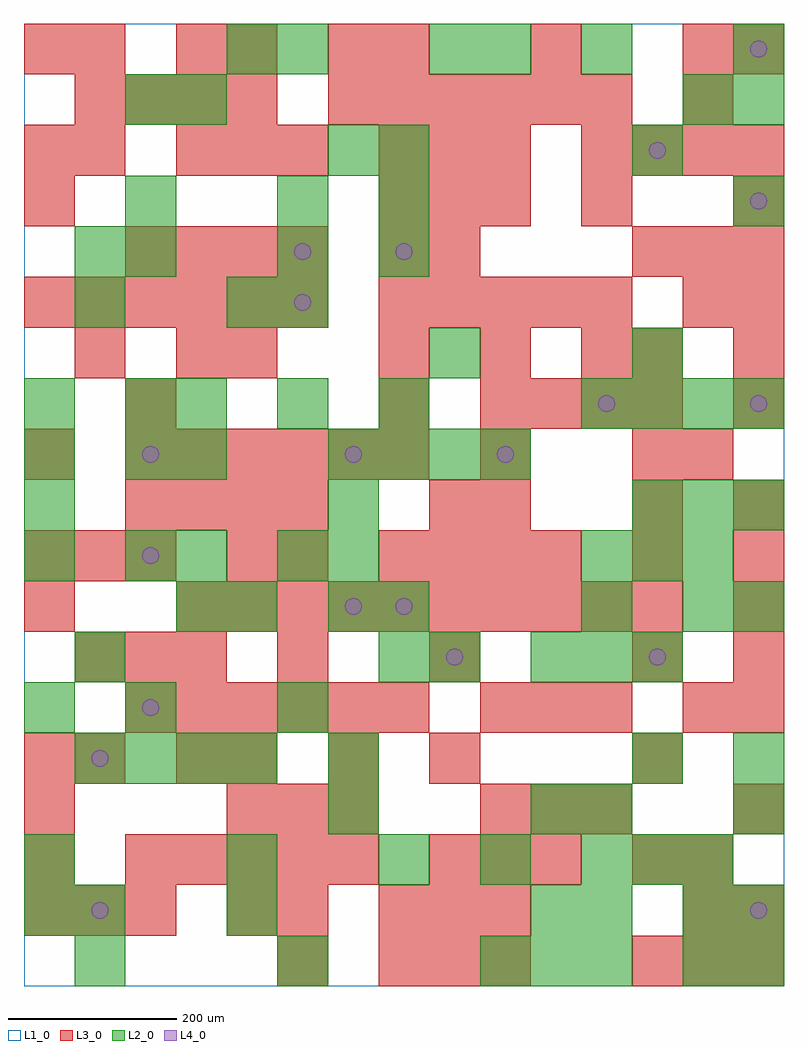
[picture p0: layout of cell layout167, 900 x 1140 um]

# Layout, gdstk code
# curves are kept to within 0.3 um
import gdstk
lib = gdstk.Library(unit=1e-6, precision=1e-09)
def R(c, l, rs):  # rectangles x0, y0, x1, y1
    for r in rs: c.add(gdstk.rectangle(r[:2], r[2:], *l))
def A(c, l, x, y, w, h, nx, ny, dx, dy):  # array of equal rectangles
    R(c, l, [(x+i*dx, y+j*dy, x+i*dx+w, y+j*dy+h) for i in range(nx) for j in range(ny)])
def P(c, l, *ps):  # polygons
    for p in ps: c.add(gdstk.Polygon(p, *l))
L1_0 = (1, 0)
L2_0 = (2, 0)
L3_0 = (3, 0)
L4_0 = (4, 0)

layout167 = lib.new_cell('layout167')
R(layout167, L1_0, [(0,0,900,1140)])
A(layout167, L2_0, 60, 0, 60, 60, 3, 1, 240, 0)
A(layout167, L2_0, 780, 0, 60, 60, 1, 3, 0, 60)
A(layout167, L2_0, 0, 120, 60, 60, 1, 3, 0, 180)
A(layout167, L2_0, 420, 120, 60, 60, 3, 1, 120, 0)
A(layout167, L2_0, 60, 240, 60, 60, 4, 1, 60, 0)
A(layout167, L2_0, 480, 360, 60, 60, 1, 3, 0, 360)
A(layout167, L2_0, 600, 360, 60, 60, 3, 1, 60, 0)
A(layout167, L2_0, 660, 480, 60, 60, 3, 1, 60, 0)
A(layout167, L2_0, 0, 540, 60, 60, 3, 1, 360, 0)
A(layout167, L2_0, 360, 600, 60, 60, 4, 1, 60, 0)
A(layout167, L2_0, 180, 660, 60, 60, 3, 1, 120, 0)
A(layout167, L2_0, 660, 660, 60, 60, 4, 1, 60, 0)
A(layout167, L2_0, 300, 780, 60, 60, 1, 3, 0, 60)
A(layout167, L2_0, 420, 840, 60, 60, 1, 3, 0, 60)
R(layout167, L2_0, [(600,0,660,60), (660,0,720,60), (840,0,900,60), (0,60,60,120), (60,60,120,120), (240,60,300,120), (600,60,660,120), (660,60,720,120), (840,60,900,120), (240,120,300,180), (720,120,780,180), (360,180,420,240), (600,180,660,240), (660,180,720,240), (840,180,900,240), (360,240,420,300), (720,240,780,300), (840,240,900,300), (120,300,180,360), (300,300,360,360), (60,360,120,420), (420,360,480,420), (180,420,240,480), (240,420,300,480), (360,420,420,480), (420,420,480,480), (660,420,720,480), (780,420,840,480), (840,420,900,480), (120,480,180,540), (180,480,240,540), (300,480,360,540), (360,480,420,540), (780,540,840,600), (840,540,900,600), (0,600,60,660), (120,600,180,660), (180,600,240,660), (0,660,60,720), (120,660,180,720), (720,720,780,780), (60,780,120,840), (240,780,300,840), (60,840,120,900), (120,840,180,900), (120,900,180,960), (840,900,900,960), (360,960,420,1020), (720,960,780,1020), (120,1020,180,1080), (180,1020,240,1080), (780,1020,840,1080), (840,1020,900,1080), (240,1080,300,1140), (300,1080,360,1140), (540,1080,600,1140), (660,1080,720,1140), (840,1080,900,1140)])
A(layout167, L3_0, 420, 0, 60, 60, 3, 2, 60, 60)
A(layout167, L3_0, 720, 0, 60, 60, 3, 2, 60, 840)
A(layout167, L3_0, 0, 60, 60, 60, 3, 2, 60, 420)
A(layout167, L3_0, 840, 60, 60, 60, 1, 3, 0, 120)
A(layout167, L3_0, 0, 120, 60, 60, 1, 3, 0, 60)
A(layout167, L3_0, 120, 120, 60, 60, 5, 1, 60, 0)
A(layout167, L3_0, 480, 120, 60, 60, 3, 1, 60, 0)
A(layout167, L3_0, 720, 120, 60, 60, 1, 4, 0, 120)
A(layout167, L3_0, 240, 180, 60, 60, 3, 1, 60, 0)
A(layout167, L3_0, 540, 180, 60, 60, 3, 2, 60, 120)
A(layout167, L3_0, 240, 240, 60, 60, 3, 1, 120, 0)
A(layout167, L3_0, 120, 300, 60, 60, 6, 2, 60, 300)
A(layout167, L3_0, 60, 360, 60, 60, 3, 1, 60, 0)
A(layout167, L3_0, 840, 360, 60, 60, 1, 4, 0, 60)
A(layout167, L3_0, 180, 420, 60, 60, 10, 1, 60, 0)
A(layout167, L3_0, 420, 480, 60, 60, 4, 1, 60, 0)
A(layout167, L3_0, 120, 540, 60, 60, 4, 2, 60, 300)
A(layout167, L3_0, 540, 660, 60, 60, 4, 1, 60, 0)
A(layout167, L3_0, 840, 660, 60, 60, 1, 3, 0, 60)
A(layout167, L3_0, 420, 720, 60, 60, 3, 1, 120, 0)
A(layout167, L3_0, 0, 780, 60, 60, 6, 1, 60, 0)
A(layout167, L3_0, 420, 780, 60, 60, 5, 1, 60, 0)
A(layout167, L3_0, 420, 900, 60, 60, 3, 2, 60, 60)
A(layout167, L3_0, 180, 960, 60, 60, 3, 1, 60, 0)
A(layout167, L3_0, 660, 960, 60, 60, 4, 1, 60, 0)
A(layout167, L3_0, 60, 1020, 60, 60, 4, 1, 60, 0)
A(layout167, L3_0, 360, 1020, 60, 60, 6, 1, 60, 0)
A(layout167, L3_0, 420, 1080, 60, 60, 3, 1, 180, 0)
R(layout167, L3_0, [(300,0,360,60), (240,60,300,120), (300,60,360,120), (780,60,840,120), (780,120,840,180), (60,240,120,300), (180,240,240,300), (780,300,840,360), (300,360,360,420), (480,360,540,420), (0,420,60,480), (240,480,300,540), (300,480,360,540), (480,540,540,600), (540,540,600,600), (720,540,780,600), (0,600,60,660), (540,600,600,660), (720,600,780,660), (780,600,840,660), (120,660,180,720), (420,660,480,720), (60,720,120,780), (180,720,240,780), (240,720,300,780), (720,720,780,780), (780,780,840,840), (420,840,480,900), (480,840,540,900), (0,900,60,960), (660,900,720,960), (840,900,900,960), (0,960,60,1020), (60,960,120,1020), (780,1020,840,1080), (0,1080,60,1140), (60,1080,120,1140), (180,1080,240,1140), (240,1080,300,1140), (360,1080,420,1140), (840,1080,900,1140)])
P(layout167, L4_0, [(100,90),(99.239,93.827),(97.071,97.071),(93.827,99.239),(90,100),(86.173,99.239),(82.929,97.071),(80.761,93.827),(80,90),(80.761,86.173),(82.929,82.929),(86.173,80.761),(90,80),(93.827,80.761),(97.071,82.929),(99.239,86.173)],
  [(100,270),(99.239,273.827),(97.071,277.071),(93.827,279.239),(90,280),(86.173,279.239),(82.929,277.071),(80.761,273.827),(80,270),(80.761,266.173),(82.929,262.929),(86.173,260.761),(90,260),(93.827,260.761),(97.071,262.929),(99.239,266.173)],
  [(160,330),(159.239,333.827),(157.071,337.071),(153.827,339.239),(150,340),(146.173,339.239),(142.929,337.071),(140.761,333.827),(140,330),(140.761,326.173),(142.929,322.929),(146.173,320.761),(150,320),(153.827,320.761),(157.071,322.929),(159.239,326.173)],
  [(160,510),(159.239,513.827),(157.071,517.071),(153.827,519.239),(150,520),(146.173,519.239),(142.929,517.071),(140.761,513.827),(140,510),(140.761,506.173),(142.929,502.929),(146.173,500.761),(150,500),(153.827,500.761),(157.071,502.929),(159.239,506.173)],
  [(160,630),(159.239,633.827),(157.071,637.071),(153.827,639.239),(150,640),(146.173,639.239),(142.929,637.071),(140.761,633.827),(140,630),(140.761,626.173),(142.929,622.929),(146.173,620.761),(150,620),(153.827,620.761),(157.071,622.929),(159.239,626.173)],
  [(340,810),(339.239,813.827),(337.071,817.071),(333.827,819.239),(330,820),(326.173,819.239),(322.929,817.071),(320.761,813.827),(320,810),(320.761,806.173),(322.929,802.929),(326.173,800.761),(330,800),(333.827,800.761),(337.071,802.929),(339.239,806.173)],
  [(340,870),(339.239,873.827),(337.071,877.071),(333.827,879.239),(330,880),(326.173,879.239),(322.929,877.071),(320.761,873.827),(320,870),(320.761,866.173),(322.929,862.929),(326.173,860.761),(330,860),(333.827,860.761),(337.071,862.929),(339.239,866.173)],
  [(400,450),(399.239,453.827),(397.071,457.071),(393.827,459.239),(390,460),(386.173,459.239),(382.929,457.071),(380.761,453.827),(380,450),(380.761,446.173),(382.929,442.929),(386.173,440.761),(390,440),(393.827,440.761),(397.071,442.929),(399.239,446.173)],
  [(400,630),(399.239,633.827),(397.071,637.071),(393.827,639.239),(390,640),(386.173,639.239),(382.929,637.071),(380.761,633.827),(380,630),(380.761,626.173),(382.929,622.929),(386.173,620.761),(390,620),(393.827,620.761),(397.071,622.929),(399.239,626.173)],
  [(460,450),(459.239,453.827),(457.071,457.071),(453.827,459.239),(450,460),(446.173,459.239),(442.929,457.071),(440.761,453.827),(440,450),(440.761,446.173),(442.929,442.929),(446.173,440.761),(450,440),(453.827,440.761),(457.071,442.929),(459.239,446.173)],
  [(460,870),(459.239,873.827),(457.071,877.071),(453.827,879.239),(450,880),(446.173,879.239),(442.929,877.071),(440.761,873.827),(440,870),(440.761,866.173),(442.929,862.929),(446.173,860.761),(450,860),(453.827,860.761),(457.071,862.929),(459.239,866.173)],
  [(520,390),(519.239,393.827),(517.071,397.071),(513.827,399.239),(510,400),(506.173,399.239),(502.929,397.071),(500.761,393.827),(500,390),(500.761,386.173),(502.929,382.929),(506.173,380.761),(510,380),(513.827,380.761),(517.071,382.929),(519.239,386.173)],
  [(580,630),(579.239,633.827),(577.071,637.071),(573.827,639.239),(570,640),(566.173,639.239),(562.929,637.071),(560.761,633.827),(560,630),(560.761,626.173),(562.929,622.929),(566.173,620.761),(570,620),(573.827,620.761),(577.071,622.929),(579.239,626.173)],
  [(700,690),(699.239,693.827),(697.071,697.071),(693.827,699.239),(690,700),(686.173,699.239),(682.929,697.071),(680.761,693.827),(680,690),(680.761,686.173),(682.929,682.929),(686.173,680.761),(690,680),(693.827,680.761),(697.071,682.929),(699.239,686.173)],
  [(760,390),(759.239,393.827),(757.071,397.071),(753.827,399.239),(750,400),(746.173,399.239),(742.929,397.071),(740.761,393.827),(740,390),(740.761,386.173),(742.929,382.929),(746.173,380.761),(750,380),(753.827,380.761),(757.071,382.929),(759.239,386.173)],
  [(760,990),(759.239,993.827),(757.071,997.071),(753.827,999.239),(750,1000),(746.173,999.239),(742.929,997.071),(740.761,993.827),(740,990),(740.761,986.173),(742.929,982.929),(746.173,980.761),(750,980),(753.827,980.761),(757.071,982.929),(759.239,986.173)],
  [(880,90),(879.239,93.827),(877.071,97.071),(873.827,99.239),(870,100),(866.173,99.239),(862.929,97.071),(860.761,93.827),(860,90),(860.761,86.173),(862.929,82.929),(866.173,80.761),(870,80),(873.827,80.761),(877.071,82.929),(879.239,86.173)],
  [(880,690),(879.239,693.827),(877.071,697.071),(873.827,699.239),(870,700),(866.173,699.239),(862.929,697.071),(860.761,693.827),(860,690),(860.761,686.173),(862.929,682.929),(866.173,680.761),(870,680),(873.827,680.761),(877.071,682.929),(879.239,686.173)],
  [(880,930),(879.239,933.827),(877.071,937.071),(873.827,939.239),(870,940),(866.173,939.239),(862.929,937.071),(860.761,933.827),(860,930),(860.761,926.173),(862.929,922.929),(866.173,920.761),(870,920),(873.827,920.761),(877.071,922.929),(879.239,926.173)],
  [(880,1110),(879.239,1113.827),(877.071,1117.071),(873.827,1119.239),(870,1120),(866.173,1119.239),(862.929,1117.071),(860.761,1113.827),(860,1110),(860.761,1106.173),(862.929,1102.929),(866.173,1100.761),(870,1100),(873.827,1100.761),(877.071,1102.929),(879.239,1106.173)])

lib.write_gds('layout167.gds')
